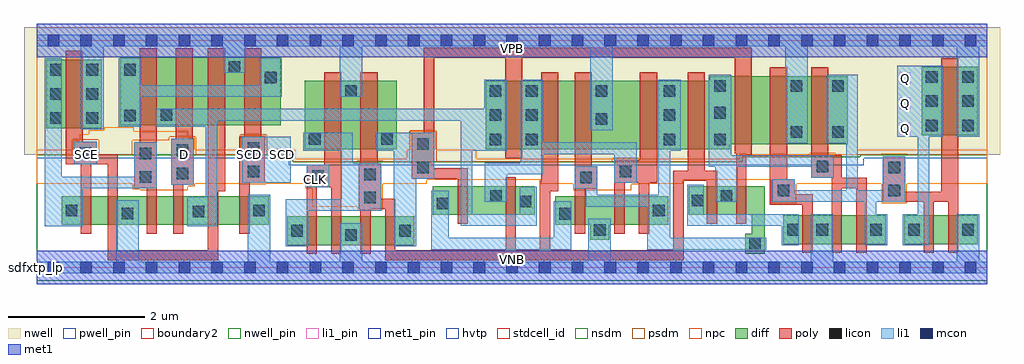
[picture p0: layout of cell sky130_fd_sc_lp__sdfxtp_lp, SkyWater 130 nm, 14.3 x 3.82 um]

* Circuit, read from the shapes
.subckt sky130_fd_sc_lp__sdfxtp_lp CLK D Q SCD SCE VGND VNB VPB VPWR
XM1 n1 SCE n2 VNB sky130_fd_pr__nfet_01v8 w=0.42 l=0.15
XM2 VGND SCE n1 VNB sky130_fd_pr__nfet_01v8 w=0.42 l=0.15
XM3 n3 n2 VGND VNB sky130_fd_pr__nfet_01v8 w=0.42 l=0.15
XM4 n4 D n3 VNB sky130_fd_pr__nfet_01v8 w=0.42 l=0.15
XM5 n5 SCE n4 VNB sky130_fd_pr__nfet_01v8 w=0.42 l=0.15
XM6 VGND SCD n5 VNB sky130_fd_pr__nfet_01v8 w=0.42 l=0.15
XM7 n6 CLK n7 VNB sky130_fd_pr__nfet_01v8 w=0.42 l=0.15
XM8 VGND CLK n6 VNB sky130_fd_pr__nfet_01v8 w=0.42 l=0.15
XM9 n8 n7 VGND VNB sky130_fd_pr__nfet_01v8 w=0.42 l=0.15
XM10 n9 n7 n8 VNB sky130_fd_pr__nfet_01v8 w=0.42 l=0.15
XM11 n10 n9 n11 VNB sky130_fd_pr__nfet_01v8 w=0.42 l=0.15
XM12 n4 n7 n10 VNB sky130_fd_pr__nfet_01v8 w=0.42 l=0.15
XM13 VGND n12 n11 VNB sky130_fd_pr__nfet_01v8 w=0.42 l=0.15
XM14 n13 n10 VGND VNB sky130_fd_pr__nfet_01v8 w=0.42 l=0.15
XM15 n12 n10 n13 VNB sky130_fd_pr__nfet_01v8 w=0.42 l=0.15
XM16 n14 n7 n15 VNB sky130_fd_pr__nfet_01v8 w=0.42 l=0.15
XM17 n12 n9 n14 VNB sky130_fd_pr__nfet_01v8 w=0.42 l=0.15
XM18 VGND n16 n15 VNB sky130_fd_pr__nfet_01v8 w=0.42 l=0.15
XM19 n17 n14 VGND VNB sky130_fd_pr__nfet_01v8 w=0.42 l=0.15
XM20 n16 n14 n17 VNB sky130_fd_pr__nfet_01v8 w=0.42 l=0.15
XM21 n18 n16 Q VNB sky130_fd_pr__nfet_01v8 w=0.42 l=0.15
XM22 VGND n16 n18 VNB sky130_fd_pr__nfet_01v8 w=0.42 l=0.15
XM23 VPWR SCE n2 VPB sky130_fd_pr__pfet_01v8_hvt w=1 l=0.25
XM24 n4 n2 n19 VPB sky130_fd_pr__pfet_01v8_hvt w=1 l=0.25
XM25 n20 D n4 VPB sky130_fd_pr__pfet_01v8_hvt w=1 l=0.25
XM26 VPWR SCE n20 VPB sky130_fd_pr__pfet_01v8_hvt w=1 l=0.25
XM27 n19 SCD VPWR VPB sky130_fd_pr__pfet_01v8_hvt w=1 l=0.25
XM28 VPWR CLK n7 VPB sky130_fd_pr__pfet_01v8_hvt w=1 l=0.25
XM29 n9 n7 VPWR VPB sky130_fd_pr__pfet_01v8_hvt w=1 l=0.25
XM30 n10 n9 n4 VPB sky130_fd_pr__pfet_01v8_hvt w=1 l=0.25
XM31 n21 n7 n10 VPB sky130_fd_pr__pfet_01v8_hvt w=1 l=0.25
XM32 VPWR n12 n21 VPB sky130_fd_pr__pfet_01v8_hvt w=1 l=0.25
XM33 n12 n10 VPWR VPB sky130_fd_pr__pfet_01v8_hvt w=1 l=0.25
XM34 n14 n7 n12 VPB sky130_fd_pr__pfet_01v8_hvt w=1 l=0.25
XM35 n22 n9 n14 VPB sky130_fd_pr__pfet_01v8_hvt w=1 l=0.25
XM36 VPWR n16 n22 VPB sky130_fd_pr__pfet_01v8_hvt w=1 l=0.25
XM37 n16 n14 VPWR VPB sky130_fd_pr__pfet_01v8_hvt w=1 l=0.25
XM38 VPWR n16 Q VPB sky130_fd_pr__pfet_01v8_hvt w=1 l=0.25
.ends

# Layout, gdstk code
import gdstk
lib = gdstk.Library(unit=1e-6, precision=1e-09)
def R(c, l, rs):  # rectangles x0, y0, x1, y1
    for r in rs: c.add(gdstk.rectangle(r[:2], r[2:], *l))
def A(c, l, x, y, w, h, nx, ny, dx, dy):  # array of equal rectangles
    R(c, l, [(x+i*dx, y+j*dy, x+i*dx+w, y+j*dy+h) for i in range(nx) for j in range(ny)])
def P(c, l, *ps):  # polygons
    for p in ps: c.add(gdstk.Polygon(p, *l))
nwell_pin = (64, 16)
nwell = (64, 20)
diff = (65, 20)
poly = (66, 20)
licon = (66, 44)
li1_pin = (67, 16)
li1 = (67, 20)
mcon = (67, 44)
met1_pin = (68, 16)
met1 = (68, 20)
hvtp = (78, 44)
stdcell_id = (81, 4)
nsdm = (93, 44)
psdm = (94, 20)
npc = (95, 20)
pwell_pin = (122, 16)
boundary2 = (236, 0)

sky130_fd_sc_lp__sdfxtp_ = lib.new_cell('sky130_fd_sc_lp__sdfxtp_lp')
R(sky130_fd_sc_lp__sdfxtp_, nwell_pin, [(0,3.085,13.92,3.33)])
P(sky130_fd_sc_lp__sdfxtp_, nwell, [(14.11,3.52),(-0.19,3.52),(-0.19,1.655),(3.745,1.655),(3.745,1.555),(10.33,1.555),(10.33,1.625),(12.06,1.625),(12.06,1.655),(14.11,1.655)])
R(sky130_fd_sc_lp__sdfxtp_, diff, [(3.665,0.33,5.53,0.75), (10.935,0.345,12.435,0.765), (12.705,0.345,13.785,0.765), (0.36,0.625,3.395,1.045), (5.8,0.775,7.295,1.195), (3.925,1.735,5.275,2.735), (12.965,1.94,13.785,2.94), (0.135,2.045,0.95,3.045), (1.22,2.085,3.57,3.085)])
P(sky130_fd_sc_lp__sdfxtp_, diff, [(9.25,1.045),(7.595,1.045),(7.595,0.625),(8.105,0.625),(8.105,0.405),(8.385,0.405),(8.385,0.625),(9.25,0.625)],
  [(10.665,1.195),(9.55,1.195),(9.55,0.775),(10.47,0.775),(10.47,0.495),(10.375,0.495),(10.375,0.205),(10.665,0.205)],
  [(11.88,2.805),(9.86,2.805),(9.86,2.735),(6.575,2.735),(6.575,1.735),(10.15,1.735),(10.15,1.805),(11.88,1.805)])
P(sky130_fd_sc_lp__sdfxtp_, poly, [(1.755,3.215),(1.505,3.215),(1.505,1.835),(1.425,1.835),(1.425,1.165),(1.605,1.165),(1.605,0.495),(1.755,0.495)],
  [(2.295,1.885),(2.285,1.885),(2.285,3.215),(2.035,3.215),(2.035,1.885),(1.965,1.885),(1.965,1.215),(1.995,1.215),(1.995,0.495),(2.145,0.495),(2.145,1.215),(2.295,1.215)],
  [(2.755,3.215),(2.505,3.215),(2.505,0.255),(1.185,0.255),(1.185,1.665),(0.875,1.665),(0.875,1.845),(0.67,1.845),(0.67,3.175),(0.42,3.175),(0.42,1.515),(0.645,1.515),(0.645,0.495),(0.795,0.495),(0.795,1.515),(1.035,1.515),(1.035,0.105),(2.655,0.105),(2.655,1.12),(2.755,1.12)],
  [(3.335,1.915),(3.285,1.915),(3.285,3.215),(3.035,3.215),(3.035,1.915),(2.965,1.915),(2.965,0.495),(3.115,0.495),(3.115,1.245),(3.335,1.245)],
  [(4.46,2.865),(4.21,2.865),(4.21,1.51),(3.95,1.51),(3.95,0.2),(4.1,0.2),(4.1,1.18),(4.31,1.18),(4.31,0.2),(4.46,0.2)],
  [(8.21,1.485),(8.13,1.485),(8.13,2.865),(7.88,2.865),(7.88,0.495),(8.03,0.495),(8.03,1.155),(8.21,1.155)],
  [(9.085,2.865),(8.835,2.865),(8.835,1.575),(8.46,1.575),(8.46,0.495),(8.61,0.495),(8.61,1.245),(8.82,1.245),(8.82,0.495),(8.97,0.495),(8.97,1.245),(9.085,1.245)],
  [(9.965,1.42),(9.785,1.42),(9.785,2.865),(9.535,2.865),(9.535,1.42),(9.325,1.42),(9.325,0.255),(7.52,0.255),(7.52,1.12),(7.64,1.12),(7.64,2.865),(7.39,2.865),(7.39,1.27),(7.37,1.27),(7.37,0.255),(7.015,0.255),(7.015,1.325),(6.865,1.325),(6.865,0.255),(5.25,0.255),(5.25,1.01),(5.045,1.01),(5.045,1.53),(4.99,1.53),(4.99,2.865),(4.74,2.865),(4.74,1.53),(4.715,1.53),(4.715,0.86),(4.74,0.86),(4.74,0.2),(4.89,0.2),(4.89,0.86),(5.1,0.86),(5.1,0.105),(9.475,0.105),(9.475,1.27),(9.815,1.27),(9.815,0.645),(9.965,0.645)],
  [(10.475,3.225),(5.67,3.225),(5.67,1.975),(5.49,1.975),(5.49,1.305),(6.165,1.305),(6.165,0.645),(6.315,0.645),(6.315,1.455),(5.82,1.455),(5.82,3.075),(6.86,3.075),(6.86,1.605),(7.11,1.605),(7.11,3.075),(10.225,3.075),(10.225,1.675),(10.245,1.675),(10.245,0.645),(10.395,0.645),(10.395,1.65),(10.475,1.65)],
  [(11.365,1.075),(11.105,1.075),(11.105,1.295),(10.99,1.295),(10.99,2.935),(10.74,2.935),(10.74,0.925),(11.215,0.925),(11.215,0.215),(11.365,0.215)],
  [(12.155,1.315),(11.795,1.315),(11.795,1.645),(11.595,1.645),(11.595,2.935),(11.345,2.935),(11.345,1.315),(11.645,1.315),(11.645,0.215),(11.795,0.215),(11.795,1.165),(12.005,1.165),(12.005,0.215),(12.155,0.215)],
  [(13.5,3.07),(13.25,3.07),(13.25,1.115),(12.725,1.115),(12.725,1.635),(12.395,1.635),(12.395,0.965),(12.99,0.965),(12.99,0.215),(13.14,0.215),(13.14,0.965),(13.35,0.965),(13.35,0.215),(13.5,0.215)])
A(sky130_fd_sc_lp__sdfxtp_, licon, 6.635, 1.795, 0.17, 0.17, 1, 3, 0, 0.355)
A(sky130_fd_sc_lp__sdfxtp_, licon, 7.165, 1.795, 0.17, 0.17, 1, 3, 0, 0.355)
A(sky130_fd_sc_lp__sdfxtp_, licon, 9.185, 1.795, 0.17, 0.17, 1, 3, 0, 0.355)
A(sky130_fd_sc_lp__sdfxtp_, licon, 9.92, 1.795, 0.17, 0.17, 1, 3, 0, 0.39)
A(sky130_fd_sc_lp__sdfxtp_, licon, 13.025, 2, 0.17, 0.17, 1, 3, 0, 0.355)
A(sky130_fd_sc_lp__sdfxtp_, licon, 13.555, 2, 0.17, 0.17, 1, 3, 0, 0.355)
A(sky130_fd_sc_lp__sdfxtp_, licon, 0.195, 2.105, 0.17, 0.17, 1, 3, 0, 0.355)
A(sky130_fd_sc_lp__sdfxtp_, licon, 0.725, 2.105, 0.17, 0.17, 1, 3, 0, 0.355)
R(sky130_fd_sc_lp__sdfxtp_, licon, [(10.435,0.265,10.605,0.435), (4.515,0.395,4.685,0.565), (3.725,0.455,3.895,0.625), (5.305,0.455,5.475,0.625), (8.16,0.465,8.33,0.635), (10.99,0.47,11.16,0.64), (11.42,0.47,11.59,0.64), (12.21,0.47,12.38,0.64), (12.765,0.47,12.935,0.64), (13.555,0.47,13.725,0.64), (7.655,0.705,7.825,0.875), (1.24,0.71,1.41,0.88), (2.28,0.735,2.45,0.905), (0.42,0.75,0.59,0.92), (3.17,0.75,3.34,0.92), (9.025,0.75,9.195,0.92), (5.86,0.855,6.03,1.025), (7.07,0.885,7.24,1.055), (9.59,0.9,9.76,1.07), (4.795,0.94,4.965,1.11), (6.64,0.965,6.81,1.135), (10.02,0.965,10.19,1.135), (10.855,1.045,11.025,1.215), (12.475,1.045,12.645,1.215), (7.96,1.235,8.13,1.405), (1.505,1.245,1.675,1.415), (4.03,1.26,4.2,1.43), (4.795,1.28,4.965,1.45), (2.045,1.295,2.215,1.465), (3.085,1.325,3.255,1.495), (8.54,1.325,8.71,1.495), (5.57,1.385,5.74,1.555), (12.475,1.385,12.645,1.555), (11.425,1.395,11.595,1.565), (1.505,1.585,1.675,1.755), (0.625,1.595,0.795,1.765), (2.045,1.635,2.215,1.805), (3.085,1.665,3.255,1.835), (5.57,1.725,5.74,1.895), (3.985,1.8,4.155,1.97), (5.045,1.8,5.215,1.97), (11.045,1.905,11.215,2.075), (11.65,1.905,11.82,2.075), (8.185,2.095,8.355,2.265), (1.28,2.145,1.45,2.315), (1.81,2.15,1.98,2.32), (4.515,2.505,4.685,2.675), (8.185,2.505,8.355,2.675), (11.045,2.575,11.215,2.745), (11.65,2.575,11.82,2.745), (3.34,2.7,3.51,2.87), (1.28,2.815,1.45,2.985), (2.81,2.855,2.98,3.025)])
A(sky130_fd_sc_lp__sdfxtp_, li1_pin, 12.635, 1.95, 0.17, 0.17, 1, 3, 0, 0.37)
R(sky130_fd_sc_lp__sdfxtp_, li1_pin, [(3.995,1.21,4.165,1.38), (0.635,1.58,0.805,1.75), (2.075,1.58,2.245,1.75), (3.035,1.58,3.205,1.75), (3.515,1.58,3.685,1.75)])
R(sky130_fd_sc_lp__sdfxtp_, li1, [(3.95,1.18,4.28,1.51), (1.965,1.215,2.295,1.885), (3.005,1.245,3.715,1.915), (0.545,1.515,0.875,1.845)])
P(sky130_fd_sc_lp__sdfxtp_, li1, [(12.605,1.92),(12.605,2.96),(13.275,2.96),(13.275,1.92),(13.075,1.92),(13.075,0.325),(12.685,0.325),(12.685,0.785),(12.905,0.785),(12.905,1.92)],
  [(8.105,2.015),(8.105,3.245),(4.765,3.245),(4.765,2.505),(4.435,2.505),(4.435,3.245),(3.06,3.245),(3.06,2.855),(2.73,2.855),(2.73,3.245),(0.975,3.245),(0.975,2.025),(0.645,2.025),(0.645,3.245),(0,3.245),(0,3.415),(13.92,3.415),(13.92,3.245),(13.805,3.245),(13.805,1.92),(13.475,1.92),(13.475,3.245),(11.295,3.245),(11.295,1.825),(10.965,1.825),(10.965,3.245),(8.435,3.245),(8.435,2.015)],
  [(8.08,0.085),(8.08,0.715),(8.41,0.715),(8.41,0.085),(11.34,0.085),(11.34,0.785),(11.67,0.785),(11.67,0.085),(13.475,0.085),(13.475,0.785),(13.805,0.785),(13.805,0.085),(13.92,0.085),(13.92,-0.085),(0,-0.085),(0,0.085),(1.16,0.085),(1.16,0.985),(1.49,0.985),(1.49,0.085),(3.09,0.085),(3.09,1.065),(3.42,1.065),(3.42,0.085),(4.435,0.085),(4.435,0.65),(4.765,0.65),(4.765,0.085)],
  [(0.67,0.605),(0.115,0.605),(0.115,3.065),(0.365,3.065),(0.365,1.335),(1.425,1.335),(1.425,1.835),(1.755,1.835),(1.755,1.165),(0.67,1.165)],
  [(6.56,1.535),(7.085,1.535),(7.085,2.755),(7.415,2.755),(7.415,1.835),(8.79,1.835),(8.79,1.245),(8.46,1.245),(8.46,1.665),(7.415,1.665),(7.415,1.365),(6.89,1.365),(6.89,0.965),(6.56,0.965)],
  [(3.645,1),(4.46,1),(4.46,1.715),(3.905,1.715),(3.905,1.975),(4.63,1.975),(4.63,1.53),(5.045,1.53),(5.045,0.83),(3.975,0.83),(3.975,0.31),(3.645,0.31)],
  [(11.105,1.135),(11.855,1.135),(11.855,1.825),(11.57,1.825),(11.57,2.825),(12.025,2.825),(12.025,1.135),(12.395,1.135),(12.395,1.635),(12.725,1.635),(12.725,0.965),(12.3,0.965),(12.3,0.785),(12.46,0.785),(12.46,0.325),(12.13,0.325),(12.13,0.965),(10.775,0.965),(10.775,1.295),(11.105,1.295)],
  [(5.78,0.265),(5.78,1.125),(6.03,1.125),(6.03,0.435),(7.575,0.435),(7.575,0.975),(7.825,0.975),(7.825,0.265)],
  [(9.105,2.755),(9.435,2.755),(9.435,1.715),(9.275,1.715),(9.275,0.435),(10.685,0.435),(10.685,0.265),(8.945,0.265),(8.945,0.895),(8.04,0.895),(8.04,1.155),(7.88,1.155),(7.88,1.485),(8.21,1.485),(8.21,1.065),(9.105,1.065)],
  [(10.17,1.645),(11.675,1.645),(11.675,1.315),(11.345,1.315),(11.345,1.475),(10.27,1.475),(10.27,0.965),(9.94,0.965),(9.94,1.475),(9.84,1.475),(9.84,2.825),(10.17,2.825)],
  [(6.555,2.325),(6.555,2.755),(6.885,2.755),(6.885,1.715),(6.38,1.715),(6.38,0.785),(7.07,0.785),(7.07,1.185),(7.32,1.185),(7.32,0.615),(6.21,0.615),(6.21,2.155),(2.645,2.155),(2.645,0.605),(2.2,0.605),(2.2,1.035),(2.475,1.035),(2.475,2.065),(1.73,2.065),(1.73,2.325)],
  [(10.91,0.325),(10.91,0.615),(9.53,0.615),(9.53,1.215),(9.77,1.215),(9.77,0.785),(11.16,0.785),(11.16,0.325)],
  [(1.2,2.065),(1.2,3.065),(1.53,3.065),(1.53,2.675),(3.26,2.675),(3.26,3.065),(3.59,3.065),(3.59,2.505),(1.53,2.505),(1.53,2.065)],
  [(5.225,0.31),(5.225,1.715),(4.965,1.715),(4.965,1.975),(5.82,1.975),(5.82,1.305),(5.555,1.305),(5.555,0.31)])
A(sky130_fd_sc_lp__sdfxtp_, mcon, 0.155, -0.085, 0.17, 0.17, 29, 2, 0.48, 3.33)
R(sky130_fd_sc_lp__sdfxtp_, met1_pin, [(0,0,13.92,0.245), (0,3.085,13.92,3.33)])
R(sky130_fd_sc_lp__sdfxtp_, met1, [(0,-0.245,13.92,0.245), (0,3.085,13.92,3.575)])
P(sky130_fd_sc_lp__sdfxtp_, hvtp, [(13.92,3.33),(0,3.33),(0,1.6),(3.69,1.6),(3.69,1.5),(12.115,1.5),(12.115,1.6),(13.92,1.6)])
R(sky130_fd_sc_lp__sdfxtp_, stdcell_id, [(0,0,13.92,3.33)])
P(sky130_fd_sc_lp__sdfxtp_, nsdm, [(13.92,1.655),(12.06,1.655),(12.06,1.625),(10.33,1.625),(10.33,1.555),(3.745,1.555),(3.745,1.655),(0,1.655),(0,-0.19),(13.92,-0.19)])
P(sky130_fd_sc_lp__sdfxtp_, psdm, [(13.92,3.52),(0,3.52),(0,1.655),(0.515,1.655),(0.515,1.875),(0.905,1.875),(0.905,1.655),(1.395,1.655),(1.395,1.865),(1.935,1.865),(1.935,1.915),(2.325,1.915),(2.325,1.655),(2.975,1.655),(2.975,1.945),(3.365,1.945),(3.365,1.655),(3.745,1.655),(3.745,1.555),(4.685,1.555),(4.685,1.56),(5.075,1.56),(5.075,1.555),(5.46,1.555),(5.46,2.005),(5.85,2.005),(5.85,1.555),(8.43,1.555),(8.43,1.605),(8.82,1.605),(8.82,1.555),(10.33,1.555),(10.33,1.625),(11.315,1.625),(11.315,1.675),(11.705,1.675),(11.705,1.655),(12.365,1.655),(12.365,1.665),(12.755,1.665),(12.755,1.655),(13.92,1.655)])
P(sky130_fd_sc_lp__sdfxtp_, npc, [(13.92,1.73),(12.02,1.73),(12.02,1.665),(10.29,1.665),(10.29,1.595),(6.435,1.595),(6.435,1.73),(5.84,1.73),(5.84,1.995),(5.47,1.995),(5.47,1.73),(5.415,1.73),(5.415,1.595),(3.785,1.595),(3.785,1.73),(3.355,1.73),(3.355,1.935),(2.985,1.935),(2.985,1.73),(2.315,1.73),(2.315,1.905),(2.21,1.905),(2.21,1.995),(1.415,1.995),(1.415,2.055),(0.985,2.055),(0.985,2.015),(0.76,2.015),(0.76,1.955),(0.63,1.955),(0.63,1.865),(0.525,1.865),(0.525,1.73),(0,1.73),(0,1.23),(1.405,1.23),(1.405,1.145),(1.51,1.145),(1.51,1.135),(2.21,1.135),(2.21,1.195),(2.315,1.195),(2.315,1.23),(2.985,1.23),(2.985,1.225),(3.355,1.225),(3.355,1.23),(3.93,1.23),(3.93,1.16),(4.035,1.16),(4.035,0.895),(4.695,0.895),(4.695,0.84),(5.065,0.84),(5.065,1.23),(5.71,1.23),(5.71,1.285),(7.385,1.285),(7.385,1.23),(7.86,1.23),(7.86,1.135),(8.705,1.135),(8.705,1.225),(8.81,1.225),(8.81,1.23),(9.46,1.23),(9.46,1.285),(10.755,1.285),(10.755,0.945),(11.125,0.945),(11.125,1.23),(12.375,1.23),(12.375,0.945),(12.745,0.945),(12.745,1.23),(13.92,1.23)])
R(sky130_fd_sc_lp__sdfxtp_, pwell_pin, [(0,0,13.92,0.245)])
R(sky130_fd_sc_lp__sdfxtp_, boundary2, [(0,0,13.92,3.33)])
sky130_fd_sc_lp__sdfxtp_.add(gdstk.Label('VNB', (6.96,0.123), layer=64, texttype=59))
sky130_fd_sc_lp__sdfxtp_.add(gdstk.Label('VPB', (6.96,3.208), layer=64, texttype=5))
sky130_fd_sc_lp__sdfxtp_.add(gdstk.Label('sdfxtp_lp', (0,0), layer=83, texttype=44))
sky130_fd_sc_lp__sdfxtp_.add(gdstk.Label('VPWR', (6.96,3.208), layer=68, texttype=5))
sky130_fd_sc_lp__sdfxtp_.add(gdstk.Label('VGND', (6.96,0.123), layer=68, texttype=5))
sky130_fd_sc_lp__sdfxtp_.add(gdstk.Label('SCD', (3.12,1.665), layer=67, texttype=5))
sky130_fd_sc_lp__sdfxtp_.add(gdstk.Label('SCD', (3.6,1.665), layer=67, texttype=5))
sky130_fd_sc_lp__sdfxtp_.add(gdstk.Label('D', (2.16,1.665), layer=67, texttype=5))
sky130_fd_sc_lp__sdfxtp_.add(gdstk.Label('SCE', (0.72,1.665), layer=67, texttype=5))
sky130_fd_sc_lp__sdfxtp_.add(gdstk.Label('Q', (12.72,2.035), layer=67, texttype=5))
sky130_fd_sc_lp__sdfxtp_.add(gdstk.Label('Q', (12.72,2.405), layer=67, texttype=5))
sky130_fd_sc_lp__sdfxtp_.add(gdstk.Label('Q', (12.72,2.775), layer=67, texttype=5))
sky130_fd_sc_lp__sdfxtp_.add(gdstk.Label('CLK', (4.08,1.295), layer=67, texttype=5))

lib.write_gds('sky130_fd_sc_lp__sdfxtp_lp.gds')
